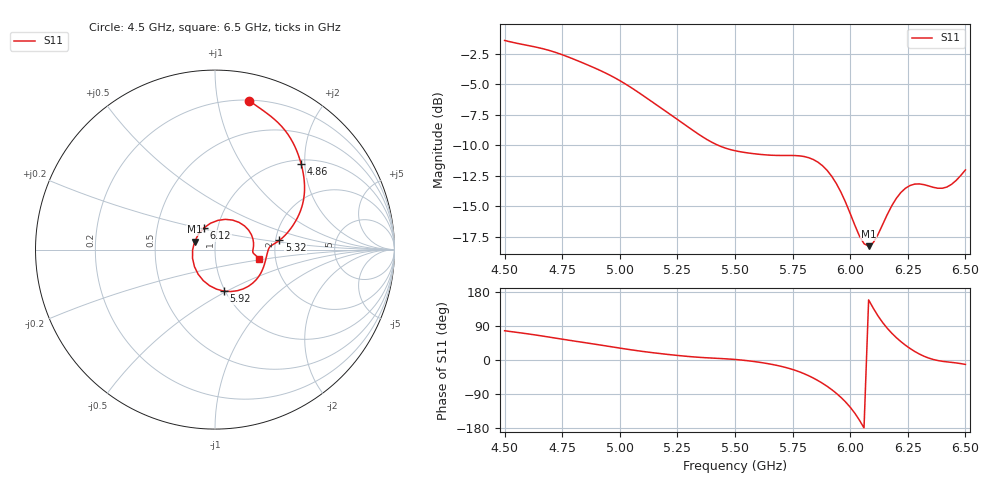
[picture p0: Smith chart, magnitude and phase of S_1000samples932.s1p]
! TOUCHSTONE file generated by CST MICROWAVE STUDIO
! Date and time: Sat Oct 29 20:29:29 2022
! Project name: L.cst
! Parameters = {Di=1.27; Epsilon_r=1.56; InnerDiameter=1.27; Length=2; Lf=10; Lg=60; OuterConductorThickness=0.2921; OuterDiameter=3.6; Wf=3; Wp=41.2; de=1.5; df=6.8; g=0.8; gx=0.797515; gy=3.05301; h=2.34; hf=1.524; px=10.4711; py=12.6467; w=9.7; wx=9.6736; wy=9.5937}
! Header version: 2018
! Port assignment regex: !\s*Touchstone port\s*([0-9]+)\s*=\s*(CST MWS port|CST DS port)\s*([0-9]+|Zmin|Zmax)\s*\(\"(.*)\"\)(\s*mode\s*([0-9]+))?.*
! Touchstone port assignment:
! Touchstone port 1 = CST MWS port 1 ("")
# GHz S DB R 50
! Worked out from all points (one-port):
!   101 points, 4.5 GHz to 6.5 GHz, reference 50 ohm
!   lowest |S11| = -18.3 dB at 6.08 GHz (marker M1), VSWR 1.28, Z = 39.7 + j3.57 ohm
!   |S11| at or under -10 dB: 5.427 GHz to end of sweep
!   S11 on the Smith chart (normalised r, x): 4.5 GHz: 0.20, +1.23; 4.86 GHz: 1.10, +1.92; 5.32 GHz: 2.10, +0.25; 5.92 GHz: 0.98, -0.48; 6.12 GHz: 0.86, +0.21; 6.5 GHz: 1.64, -0.18
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4.5  -1.40 77.2
4.64  -1.96 65.5
4.76  -2.64 54.0
4.86  -3.40 44.7
5  -4.69 31.4
5.12  -6.17 21.0
5.26  -8.01 11.5
5.32  -8.81 8.2
5.42  -9.94 4.4
5.5  -10.45 1.4
5.64  -10.80 -9.4
5.76  -10.84 -27.0
5.84  -11.17 -47.6
5.88  -11.68 -61.5
5.92  -12.55 -78.3
5.96  -13.85 -98.7
6  -15.60 -124.5
6.04  -17.44 -158.6
6.06  -18.07 -179.3
6.08  -18.28 158.7
6.12  -17.35 117.0
6.18  -14.98 71.0
6.22  -13.87 48.5
6.26  -13.30 30.3
6.3  -13.17 15.8
6.34  -13.33 5.2
6.42  -13.42 -4.9
6.5  -12.02 -11.7
